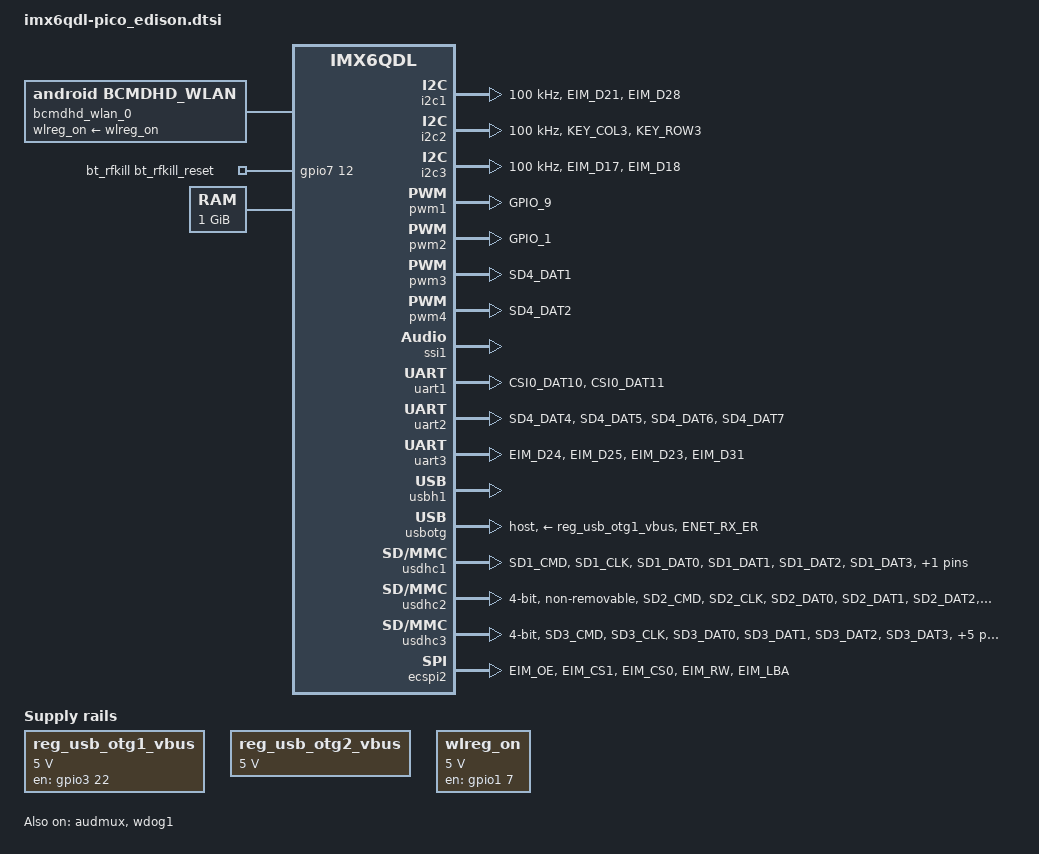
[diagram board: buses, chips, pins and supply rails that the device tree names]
 /*
 * Copyright 2017 Technexion Ltd.
 *
 * Author: Alvin Chen <Alvin.chen@technexion.com>
 *
 * This program is free software; you can redistribute it and/or modify
 * it under the terms of the GNU General Public License version 2 as
 * published by the Free Software Foundation.
 *
 */

#include <dt-bindings/gpio/gpio.h>

/* GPIOs on PICO connector */
#define GPIO_P24 gpio5 19
#define GPIO_P25 gpio5 18
#define GPIO_P26 gpio5 21
#define GPIO_P28 gpio5 20
#define GPIO_P30 gpio5 26
#define GPIO_P48 gpio6 1

#define PCA9535_INTERRUPT &pinctrl_pca9535_interrupt
#define PICO_EXT_GPIO_IOMUX_EDISON &pinctrl_ext_gpio_edison

/* bus definitions */
#define I2C1 i2c1
#define I2C2 i2c3
#define I2C3 i2c2
#define ECSPI ecspi2

#define PCA9535_INT_GPIO gpio5 30

/ {
	chosen {
		stdout-path = &uart1;
	};

	bcmdhd_wlan_0: bcmdhd_wlan@0 {
		compatible = "android,bcmdhd_wlan";
		pinctrl-names = "default";
		pinctrl-0 = <&pinctrl_wifi_ctrl>;
		wlreg_on-supply = <&wlreg_on>;
	};

	bt_rfkill {
		compatible = "net,rfkill-bcm43xx";
		name = "bt_rfkill";
		type = <2>;
		bt_rfkill_reset-gpios = <&gpio7 12 0>;
	};

	memory: memory {
		reg = <0x10000000 0x40000000>;
	};

	regulators {
		compatible = "simple-bus";
		#address-cells = <1>;
		#size-cells = <0>;

                reg_usb_otg1_vbus: regulator@0 {
                        compatible = "regulator-fixed";
                        regulator-name = "usb_otg1_vbus";
                        regulator-min-microvolt = <5000000>;
                        regulator-max-microvolt = <5000000>;
                        gpio = <&gpio3 22 0>;
                        enable-active-high;
                };

                reg_usb_otg2_vbus: regulator@1 {
                        compatible = "regulator-fixed";
                        reg = <1>;
                        regulator-name = "usb_otg2_vbus";
                        regulator-min-microvolt = <5000000>;
                        regulator-max-microvolt = <5000000>;
                };

		wlreg_on: wlreg_on {
			compatible = "regulator-fixed";
			regulator-min-microvolt = <5000000>;
			regulator-max-microvolt = <5000000>;
			regulator-name = "wlreg_on";
			gpio = <&gpio1 7 0>;
			enable-active-high;
		};
	};
};

&audmux {
	pinctrl-names = "default";
	pinctrl-0 = <&pinctrl_audmux>;
	status = "okay";
};

&i2c1 {
	clock-frequency = <100000>;
	pinctrl-names = "default";
	pinctrl-0 = <&pinctrl_i2c1>;
	status = "okay";
};

&i2c2 {
	clock-frequency = <100000>;
	pinctrl-names = "default";
	pinctrl-0 = <&pinctrl_i2c2>;
	status = "okay";
};

&i2c3 {
	clock-frequency = <100000>;
	pinctrl-names = "default";
	pinctrl-0 = <&pinctrl_i2c3>;
	status = "okay";
};

&iomuxc {
	pinctrl-names = "default";
	pinctrl-0 = <&pinctrl_hog_1>;

	imx6qdl-pico {

		pinctrl_hog_1: hoggrp-1 {
			fsl,pins = <
				MX6QDL_PAD_GPIO_0__CCM_CLKO1     	0x130b0
				MX6QDL_PAD_EIM_D22__USB_OTG_PWR		0x80000000	/* USB Power Enable */
				MX6QDL_PAD_GPIO_2__GPIO1_IO02		0x80000000	/* USDHC1 CD */
				MX6QDL_PAD_EIM_DA9__GPIO3_IO09		0x80000000	/* uSDHC3 CD */
				MX6QDL_PAD_GPIO_0__CCM_CLKO1		0x000b0		/* SGTL5000 sys_mclk */
				MX6QDL_PAD_ENET_RXD0__XTALOSC_REF_CLK_32K	0x000b0	/* wifi LPO 32K Hz clock */
				MX6QDL_PAD_EIM_D22__GPIO3_IO22		0x4001b0b5
			>;
		};


		pinctrl_ext_gpio_hobbit: ext-gpio-grp-hobbit {
			fsl,pins = <
				MX6QDL_PAD_CSI0_MCLK__GPIO5_IO19	0x4001b0b5 /* GPIO5_19 pico pin 24 */
				MX6QDL_PAD_CSI0_VSYNC__GPIO5_IO21	0x4001b0b5 /* GPIO5_21 pico pin 26 */
				MX6QDL_PAD_CSI0_DATA_EN__GPIO5_IO20	0x4001b0b5 /* GPIO5_20 pico pin 28 */
				MX6QDL_PAD_CSI0_DAT8__GPIO5_IO26	0x4001b0b5 /* GPIO5_26 pico pin 30 */
				MX6QDL_PAD_CSI0_DAT14__GPIO6_IO00	0x4001b0b5 /* GPIO6_00 pico pin 34 */
			>;
		};

		pinctrl_ext_gpio_edison: gpiogrp {
			fsl,pins = <
				MX6QDL_PAD_CSI0_MCLK__GPIO5_IO19		0x000b0		/* GPIO_P24 */
				MX6QDL_PAD_CSI0_PIXCLK__GPIO5_IO18		0x000b0		/* GPIO_P25 */
				MX6QDL_PAD_CSI0_VSYNC__GPIO5_IO21		0x000b0		/* GPIO_P26 */
				MX6QDL_PAD_CSI0_DATA_EN__GPIO5_IO20		0x000b0		/* GPIO_P28 */
				MX6QDL_PAD_CSI0_DAT8__GPIO5_IO26		0x000b0		/* GPIO_P30 */
				MX6QDL_PAD_CSI0_DAT15__GPIO6_IO01		0x000b0		/* GPIO_P48 */
			>;
		};

		pinctrl_wifi_ctrl: wifi_ctrlgrp {
			fsl,pins = <
				MX6QDL_PAD_GPIO_7__GPIO1_IO07	0x000b0		/* wifi-reg-on */
				MX6QDL_PAD_GPIO_16__GPIO7_IO11	0x80000000	/* wifi-host-wake */
			>;
		};

		pinctrl_bt_ctrl: bt_ctrlgrp {
			fsl,pins = <
				MX6QDL_PAD_GPIO_17__GPIO7_IO12	0x000b0		/* bluetooth-reg-on */
				MX6QDL_PAD_GPIO_4__GPIO1_IO04	0x000b0		/* bluetooth-wake */
				MX6QDL_PAD_GPIO_5__GPIO1_IO05   0x000b0		/* bluetooth-host-wake */
			>;
		};

		pinctrl_audmux: audmuxgrp {
			fsl,pins = <
				MX6QDL_PAD_CSI0_DAT7__AUD3_RXD		0x130b0
				MX6QDL_PAD_CSI0_DAT4__AUD3_TXC		0x130b0
				MX6QDL_PAD_CSI0_DAT5__AUD3_TXD		0x110b0
				MX6QDL_PAD_CSI0_DAT6__AUD3_TXFS		0x130b0
			>;
		};

		pinctrl_ecspi1: ecspi1grp {
			fsl,pins = <
				MX6QDL_PAD_EIM_D17__ECSPI1_MISO 0x100b1
				MX6QDL_PAD_EIM_D18__ECSPI1_MOSI 0x100b1
				MX6QDL_PAD_EIM_D16__ECSPI1_SCLK 0x100b1
				MX6QDL_PAD_EIM_EB2__GPIO2_IO30  0x000f0b0 /* cs0 */
			>;
		};

		pinctrl_ecspi2: ecspi2grp {
			fsl,pins = <
				MX6QDL_PAD_EIM_OE__ECSPI2_MISO  0x1b0b1
				MX6QDL_PAD_EIM_CS1__ECSPI2_MOSI 0x1b0b1
				MX6QDL_PAD_EIM_CS0__ECSPI2_SCLK 0x1b0b1
				MX6QDL_PAD_EIM_RW__GPIO2_IO26 0x000f0b0
				MX6QDL_PAD_EIM_LBA__GPIO2_IO27 0x000f0b0
			>;
		};

		pinctrl_enet: enetgrp {
			fsl,pins = <
				MX6QDL_PAD_ENET_MDIO__ENET_MDIO		0x1b0b0
				MX6QDL_PAD_ENET_MDC__ENET_MDC		0x1b0b0
				MX6QDL_PAD_RGMII_TXC__RGMII_TXC		0x1b0b0
				MX6QDL_PAD_RGMII_TD0__RGMII_TD0		0x1b0b0
				MX6QDL_PAD_RGMII_TD1__RGMII_TD1		0x1b0b0
				MX6QDL_PAD_RGMII_TD2__RGMII_TD2		0x1b0b0
				MX6QDL_PAD_RGMII_TD3__RGMII_TD3		0x1b0b0
				MX6QDL_PAD_RGMII_TX_CTL__RGMII_TX_CTL	0x1b0b0
				MX6QDL_PAD_ENET_REF_CLK__ENET_TX_CLK	0x1b0b0
				MX6QDL_PAD_RGMII_RXC__RGMII_RXC		0x1b0b0
				MX6QDL_PAD_RGMII_RD0__RGMII_RD0		0x1b0b0
				MX6QDL_PAD_RGMII_RD1__RGMII_RD1		0x1b0b0
				MX6QDL_PAD_RGMII_RD2__RGMII_RD2		0x1b0b0
				MX6QDL_PAD_RGMII_RD3__RGMII_RD3		0x1b0b0
				MX6QDL_PAD_RGMII_RX_CTL__RGMII_RX_CTL	0x1b0b0
				MX6QDL_PAD_ENET_TX_EN__ENET_TX_EN	0x1b0b0
				MX6QDL_PAD_ENET_RXD1__GPIO1_IO26	0x1f0b1		/* RGMII PHY reset */
			>;
		};

		pinctrl_i2c1: i2c1grp {
			fsl,pins = <
				MX6QDL_PAD_EIM_D21__I2C1_SCL 		0x4001b8b1
				MX6QDL_PAD_EIM_D28__I2C1_SDA 		0x4001b8b1
			>;
		};

		pinctrl_i2c2: i2c2grp {
			fsl,pins = <
				MX6QDL_PAD_KEY_COL3__I2C2_SCL		0x4001b8b1
				MX6QDL_PAD_KEY_ROW3__I2C2_SDA		0x4001b8b1
			>;
		};

		pinctrl_i2c3: i2c3grp {
			fsl,pins = <
				MX6QDL_PAD_EIM_D17__I2C3_SCL 0x4001b8b1
				MX6QDL_PAD_EIM_D18__I2C3_SDA 0x4001b8b1
			>;
		};

		pinctrl_ipu1: ipu1grp {
			fsl,pins = <
				MX6QDL_PAD_DI0_DISP_CLK__IPU1_DI0_DISP_CLK 0x10
				MX6QDL_PAD_DI0_PIN15__IPU1_DI0_PIN15       0x10
				MX6QDL_PAD_DI0_PIN2__IPU1_DI0_PIN02        0x10
				MX6QDL_PAD_DI0_PIN3__IPU1_DI0_PIN03        0x10
				MX6QDL_PAD_DI0_PIN4__IPU1_DI0_PIN04        0x80000000
				MX6QDL_PAD_DISP0_DAT0__IPU1_DISP0_DATA00   0x10
				MX6QDL_PAD_DISP0_DAT1__IPU1_DISP0_DATA01   0x10
				MX6QDL_PAD_DISP0_DAT2__IPU1_DISP0_DATA02   0x10
				MX6QDL_PAD_DISP0_DAT3__IPU1_DISP0_DATA03   0x10
				MX6QDL_PAD_DISP0_DAT4__IPU1_DISP0_DATA04   0x10
				MX6QDL_PAD_DISP0_DAT5__IPU1_DISP0_DATA05   0x10
				MX6QDL_PAD_DISP0_DAT6__IPU1_DISP0_DATA06   0x10
				MX6QDL_PAD_DISP0_DAT7__IPU1_DISP0_DATA07   0x10
				MX6QDL_PAD_DISP0_DAT8__IPU1_DISP0_DATA08   0x10
				MX6QDL_PAD_DISP0_DAT9__IPU1_DISP0_DATA09   0x10
				MX6QDL_PAD_DISP0_DAT10__IPU1_DISP0_DATA10  0x10
				MX6QDL_PAD_DISP0_DAT11__IPU1_DISP0_DATA11  0x10
				MX6QDL_PAD_DISP0_DAT12__IPU1_DISP0_DATA12  0x10
				MX6QDL_PAD_DISP0_DAT13__IPU1_DISP0_DATA13  0x10
				MX6QDL_PAD_DISP0_DAT14__IPU1_DISP0_DATA14  0x10
				MX6QDL_PAD_DISP0_DAT15__IPU1_DISP0_DATA15  0x10
				MX6QDL_PAD_DISP0_DAT16__IPU1_DISP0_DATA16  0x10
				MX6QDL_PAD_DISP0_DAT17__IPU1_DISP0_DATA17  0x10
				MX6QDL_PAD_DISP0_DAT18__IPU1_DISP0_DATA18  0x10
				MX6QDL_PAD_DISP0_DAT19__IPU1_DISP0_DATA19  0x10
				MX6QDL_PAD_DISP0_DAT20__IPU1_DISP0_DATA20  0x10
				MX6QDL_PAD_DISP0_DAT21__IPU1_DISP0_DATA21  0x10
				MX6QDL_PAD_DISP0_DAT22__IPU1_DISP0_DATA22  0x10
				MX6QDL_PAD_DISP0_DAT23__IPU1_DISP0_DATA23  0x10
			>;
		};

		pinctrl_pwm1: pwm1grp {
			fsl,pins = <
				MX6QDL_PAD_GPIO_9__PWM1_OUT 0x1b0b1
			>;
		};

		pinctrl_pwm2: pwm2grp {
			fsl,pins = <
				MX6QDL_PAD_GPIO_1__PWM2_OUT 0x1b0b1
			>;
		};

		pinctrl_pwm3: pwm3grp {
			fsl,pins = <
				MX6QDL_PAD_SD4_DAT1__PWM3_OUT 0x1b0b1
			>;
		};

		pinctrl_pwm4: pwm4grp {
			fsl,pins = <
				MX6QDL_PAD_SD4_DAT2__PWM4_OUT 0x1b0b1
			>;
		};

		pinctrl_uart1: uart1grp {
			fsl,pins = <
				MX6QDL_PAD_CSI0_DAT10__UART1_TX_DATA	0x1b0b1
				MX6QDL_PAD_CSI0_DAT11__UART1_RX_DATA	0x1b0b1
			>;
		};

		pinctrl_uart2: uart2grp {
			fsl,pins = <
				MX6QDL_PAD_SD4_DAT4__UART2_RX_DATA 0x1b0b1
				MX6QDL_PAD_SD4_DAT5__UART2_RTS_B 0x1b0b1
				MX6QDL_PAD_SD4_DAT6__UART2_CTS_B 0x1b0b1
				MX6QDL_PAD_SD4_DAT7__UART2_TX_DATA 0x1b0b1
			>;
		};

		pinctrl_uart3: uart3grp {
			fsl,pins = <
				MX6QDL_PAD_EIM_D24__UART3_TX_DATA	0x1b0b1
				MX6QDL_PAD_EIM_D25__UART3_RX_DATA	0x1b0b1
				MX6QDL_PAD_EIM_D23__UART3_CTS_B		0x1b0b1
				MX6QDL_PAD_EIM_D31__UART3_RTS_B   0x1b0b1
			>;
		};

		pinctrl_usbotg: usbotggrp {
			fsl,pins = <
				MX6QDL_PAD_ENET_RX_ER__USB_OTG_ID	0x17059
			>;
		};

		pinctrl_usdhc1: usdhc1grp {
			fsl,pins = <
				MX6QDL_PAD_SD1_CMD__SD1_CMD		0x17071
				MX6QDL_PAD_SD1_CLK__SD1_CLK		0x17071
				MX6QDL_PAD_SD1_DAT0__SD1_DATA0		0x17071
				MX6QDL_PAD_SD1_DAT1__SD1_DATA1		0x17071
				MX6QDL_PAD_SD1_DAT2__SD1_DATA2		0x17071
				MX6QDL_PAD_SD1_DAT3__SD1_DATA3		0x17071
			>;
		};

		pinctrl_usdhc2: usdhc2grp {
			fsl,pins = <
				MX6QDL_PAD_SD2_CMD__SD2_CMD		0x17059
				MX6QDL_PAD_SD2_CLK__SD2_CLK		0x10059
				MX6QDL_PAD_SD2_DAT0__SD2_DATA0		0x17059
				MX6QDL_PAD_SD2_DAT1__SD2_DATA1		0x17059
				MX6QDL_PAD_SD2_DAT2__SD2_DATA2		0x17059
				MX6QDL_PAD_SD2_DAT3__SD2_DATA3		0x17059
			>;
		};

		pinctrl_usdhc3: usdhc3grp {
			fsl,pins = <
				MX6QDL_PAD_SD3_CMD__SD3_CMD		0x17059
				MX6QDL_PAD_SD3_CLK__SD3_CLK		0x10059
				MX6QDL_PAD_SD3_DAT0__SD3_DATA0		0x17059
				MX6QDL_PAD_SD3_DAT1__SD3_DATA1		0x17059
				MX6QDL_PAD_SD3_DAT2__SD3_DATA2		0x17059
				MX6QDL_PAD_SD3_DAT3__SD3_DATA3		0x17059
		/* The below pins are NC on SD version, but used on eMMC version */
				MX6QDL_PAD_SD3_DAT4__SD3_DATA4		0x17059
				MX6QDL_PAD_SD3_DAT5__SD3_DATA5		0x17059
				MX6QDL_PAD_SD3_DAT6__SD3_DATA6		0x17059
				MX6QDL_PAD_SD3_DAT7__SD3_DATA7		0x17059
			>;
		};

		pinctrl_pcie_reset: pciegrp {
			fsl,pins = <
				MX6QDL_PAD_CSI0_VSYNC__GPIO5_IO21 0x130b0			/* PCIE_nRST */
			>;
		};

		pinctrl_flexcan1: flexcan1grp {
			fsl,pins = <
				MX6QDL_PAD_KEY_COL2__FLEXCAN1_TX 0x80000000
				MX6QDL_PAD_KEY_ROW2__FLEXCAN1_RX 0x80000000
			>;
		};

		pinctrl_flexcan2: flexcan2grp {
			fsl,pins = <
				MX6QDL_PAD_KEY_COL4__FLEXCAN2_TX 0x80000000
				MX6QDL_PAD_KEY_ROW4__FLEXCAN2_RX 0x80000000
			>;
		};

		pinctrl_pca9535_interrupt: pca9535_interrupt {
			fsl,pins = <
				MX6QDL_PAD_CSI0_DAT12__GPIO5_IO30 0x130b0
			>;
		};

	};
};

&clks {
	fsl,ldb-di0-parent = <&clks IMX6QDL_CLK_PLL2_PFD0_352M>;
	fsl,ldb-di1-parent = <&clks IMX6QDL_CLK_PLL2_PFD0_352M>;
};

&pwm1 {
	pinctrl-names = "default";
	pinctrl-0 = <&pinctrl_pwm1>;
	status = "okay";
};

&pwm2 {
	pinctrl-names = "default";
	pinctrl-0 = <&pinctrl_pwm2>;
	status = "okay";
};

&pwm3 {
	pinctrl-names = "default";
	pinctrl-0 = <&pinctrl_pwm3>;
	status = "okay";
};

&pwm4 {
	pinctrl-names = "default";
	pinctrl-0 = <&pinctrl_pwm4>;
	status = "okay";
};

&ssi1 {
	status = "okay";
};

&uart1 {
	pinctrl-names = "default";
	pinctrl-0 = <&pinctrl_uart1>;
	fsl,uart-has-rtscts;
	status = "okay";
};

&uart2 {
	pinctrl-names = "default";
	pinctrl-0 = <&pinctrl_uart2>;
	fsl,uart-has-rtscts;
	status = "okay";
};

&uart3 {
	pinctrl-names = "default";
	pinctrl-0 = <&pinctrl_uart3>;
	fsl,uart-has-rtscts;
	status = "okay";
};

&usbh1 {
	status = "okay";
};

&usbotg {
	vbus-supply = <&reg_usb_otg1_vbus>;
	pinctrl-names = "default";
	pinctrl-0 = <&pinctrl_usbotg>;
	dr_mode = "host";
	status = "okay";
};

&usdhc1 {
	pinctrl-names = "default";
	pinctrl-0 = <&pinctrl_usdhc1>;
	cd-gpios = <&gpio3 9 1>;
	status = "okay";
};

&usdhc2 {
	pinctrl-names = "default";
	pinctrl-0 = <&pinctrl_usdhc2>;
	bus-width = <4>;
	no-1-8-v;
	keep-power-in-suspend;
	non-removable;
	cd-post;
	pm-ignore-notify;
	wifi-host;
	status = "okay";
};

&usdhc3 {
	pinctrl-names = "default";
	pinctrl-0 = <&pinctrl_usdhc3>;
	bus-width = <4>;
	cd-gpios = <&gpio1 2 1>;
	status = "okay";
};

&wdog1 {
	status = "okay";
};

&ecspi2 {
	fsl,spi-num-chipselects = <2>;
	cs-gpios = <&gpio2 27 0>;
	pinctrl-names = "default";
	pinctrl-0 = <&pinctrl_ecspi2>;
	status = "okay";
};
